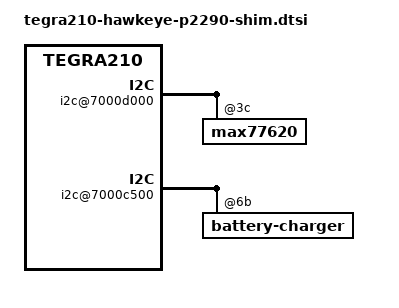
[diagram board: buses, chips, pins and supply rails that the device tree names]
/*
 * tegra210-hawkeye-p2290-shim.dtsi: Hawkeye shim overrides dtsi.
 *
 * Copyright (c) 2015, NVIDIA CORPORATION.  All rights reserved.
 *
 * This program is free software; you can redistribute it and/or modify
 * it under the terms of the GNU General Public License as published by
 * the Free Software Foundation; version 2 of the License.
 *
 * This program is distributed in the hope that it will be useful, but WITHOUT
 * ANY WARRANTY; without even the implied warranty of MERCHANTABILITY or
 * FITNESS FOR A PARTICULAR PURPOSE.  See the GNU General Public License for
 * more details.
 */

/ {

	gpio@6000d000 {
		uart_over_jack {
			status = "disabled";
			dt-override-status-odm-data = <0x80000000 0x80000000>;
		};
	};

	udc@7d000000 {
		status = "disabled";
		dt-override-status-odm-data = <0x01000000 0x00000000>;
	};

	otg@7d000000 {
		status = "disabled";
		dt-override-status-odm-data = <0x01000000 0x00000000>;
	};

	watchdog@60005100 {
		status = "disabled";
		dt-override-status-odm-data = <0x00010000 0x00010000>;
	};

	soft_watchdog {
		status = "disabled";
		dt-override-status-odm-data = <0x00030000 0x00000000>;
	};

	i2c@7000d000 {
		max77620@3c {
			watchdog {
				status = "disabled";
				dt-override-status-odm-data = <0x00020000 0x00020000>;
			};
		};
	};

	i2c@7000c500 {
		battery-charger@6b {
			charger {
				status = "disabled";
				dt-override-status-odm-data = <0x00C00000 0x00400000>;
			};
		};

		battery-gauge@55 {
			status = "disabled";
			dt-override-status-odm-data = <0x00C00000 0x00400000>;
		};
	};
};
